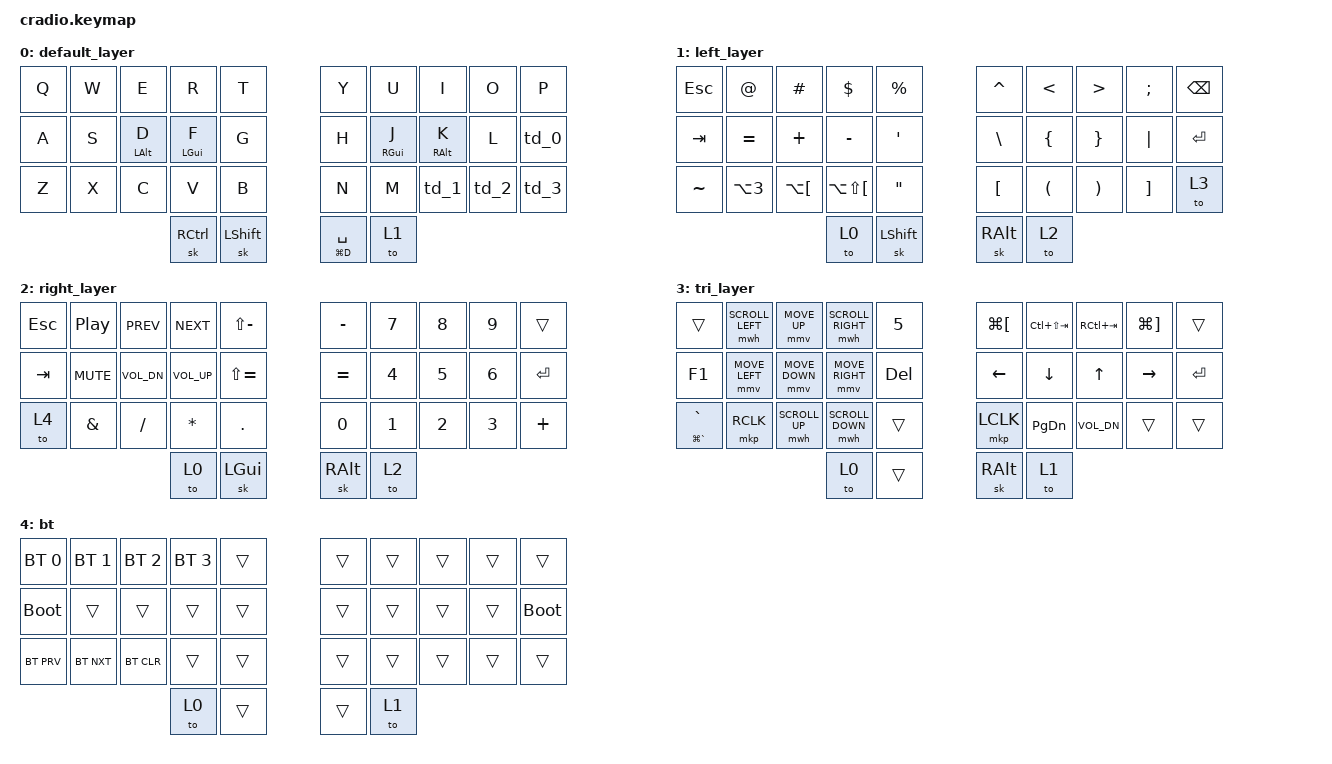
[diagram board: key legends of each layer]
/*
 * Copyright (c) 2020 The ZMK Contributors
 *
 * SPDX-License-Identifier: MIT
 */

#include <behaviors.dtsi>
#include <dt-bindings/zmk/keys.h>
#include <dt-bindings/zmk/bt.h>
#include <dt-bindings/zmk/mouse.h>


&mt {
    flavor = "tap-preferred";
    tapping_term_ms = <200>;
};


/ { 
    combos {
        compatible = "zmk,combos";
        combo_tri {
            timeout-ms = <50>;
	          key-positions = <0 1>;
            bindings = <&to 3>;
            layers = <0>;
        };
        combo_bt {
            timeout-ms = <50>;
	          key-positions = <8 9>;
            bindings = <&to 4>;
            layers = <0>;
        };
    };


    behaviors {
        hm: homerow_mods {
            compatible = "zmk,behavior-hold-tap";
            label = "HOMEROW_MODS";
            #binding-cells = <2>;
            tapping-term-ms = <200>;
            quick_tap_ms = <0>;
            flavor = "tap-preferred";
            bindings = <&kp>, <&kp>;
        };
        hs: homerow_shifts {
            compatible = "zmk,behavior-hold-tap";
            label = "HOMEROW_SHIFTS";
            #binding-cells = <2>;
            tapping-term-ms = <150>;
            quick_tap_ms = <0>;
            flavor = "balanced";
            bindings = <&kp>, <&kp>;
        };
        hsl: homerow_shifts_layer {
            compatible = "zmk,behavior-hold-tap";
            label = "HOMEROW_SHIFTS_LAYER";
            #binding-cells = <2>;
            tapping-term-ms = <150>;
            quick_tap_ms = <0>;
            flavor = "balanced";
            bindings = <&kp>, <&to>;
        };
      	td: tapdance {
            compatible = "zmk,behavior-hold-tap";
            label = "TAPDANCE";
            #binding-cells = <2>;
            tapping-term-ms = <150>;
            quick_tap_ms = <0>;
            flavor = "tap-preferred";
            bindings = <&kp>, <&kp>;
        };
	      td_0: td_semi {
            compatible = "zmk,behavior-tap-dance";
            #binding-cells = <0>;
            tapping-term-ms = <150>;
            bindings = <&kp SEMI>, <&kp COLON>, <&kp TILDE>;
        };
	      td_1: td_comma {
            compatible = "zmk,behavior-tap-dance";
            #binding-cells = <0>;
            tapping-term-ms = <150>;
            bindings = <&kp COMMA >, <&kp LT>, <&kp PIPE>;
        };
	      td_2: td_dot {
            compatible = "zmk,behavior-tap-dance";
            #binding-cells = <0>;
            tapping-term-ms = <150>;
            bindings = <&kp DOT>, <&kp GT>,<&kp DQT>;
        };
	      td_3: td_qmark {
            compatible = "zmk,behavior-tap-dance";
            #binding-cells = <0>;
            tapping-term-ms = <150>;
            bindings = <&kp QMARK>, <&kp SLASH>, <&kp BSLH>;
        };

      	bl: layertap {
            compatible = "zmk,behavior-hold-tap";
            label = "LAYERTAP";
            #binding-cells = <2>;
            tapping-term-ms = <150>;
            quick_tap_ms = <0>;
            flavor = "tap-preferred";
            bindings = <&to>, <&kp>;
        };
    };

    keymap {
                compatible = "zmk,keymap";
                
       default_layer {
		bindings = <
		&kp Q &kp W &kp E &kp R &kp T 						&kp Y &kp U  &kp I    &kp O  &kp P 
		&kp A &kp S &hm LALT D &hm LGUI F &kp G 			       	&kp H &hm RGUI J &hm RALT K &kp L &td_0
		&kp Z &kp X &kp C &kp V &kp B				        &kp N &kp M  &td_1 &td_2 &td_3
          				&sk RCTRL &sk LSHIFT  				&mt LG(D) SPACE &to 1
		>;
		};

       		left_layer {
		bindings = <
		&kp ESC  &kp AT_SIGN   &kp HASH &kp DLLR    &kp PRCNT		&kp CARET &kp LT &kp GT &kp SEMI &kp BSPC 
		&kp TAB    &kp EQUAL    &kp PLUS      &kp MINUS     &kp SQT 		&kp BSLH &kp LBRC  &kp RBRC &kp PIPE  &kp ENTER
		&kp TILDE    &kp LA(N3) 	&kp LA(LBKT) &kp LA(LS(LBKT))  &kp DQT 	&kp LBKT &kp LPAR &kp RPAR &kp RBKT  &to 3 
					    &to 0  &sk LSHIFT  					&sk RALT &to 2 
		>;
		};
		
		right_layer {
		bindings = <
		&kp ESC  &kp C_PP &kp C_PREV  &kp C_NEXT  &kp LS(MINUS)    			&kp MINUS  &kp N7 &kp N8 &kp N9 &trans
		&kp TAB  &kp K_MUTE &kp  C_VOL_DN  &kp C_VOL_UP  &kp LS(EQUAL) 			&kp EQUAL &kp N4  &kp N5  &kp N6   &kp ENTER
		&to 4  &kp AMPS &kp SLASH &kp STAR &kp DOT    			&kp N0 &kp N1 &kp N2 &kp N3  &kp PLUS 
					  &to 0 &sk LGUI  				&sk RALT  &to 2 
		>;
		};
		
		tri_layer {
		bindings = <
		&trans  &mwh SCROLL_LEFT    &mmv MOVE_UP    &mwh SCROLL_RIGHT    &kp N5 			&kp LG(LBKT)   &kp LC(LS(TAB))   &kp RC(TAB) &kp LG(RBKT) &trans
		&kp F1 &mmv MOVE_LEFT &mmv MOVE_DOWN &mmv MOVE_RIGHT &kp DEL  						&kp LEFT &kp DOWN  &kp UP &kp RIGHT &kp ENTER 
		&td LG(GRAVE) GRAVE &mkp RCLK  &mwh SCROLL_UP &mwh SCROLL_DOWN &trans   				&mkp LCLK &kp PG_DN  &kp K_VOL_DN  &trans &trans   
					 &to 0 &trans  					&sk RALT &to 1 
		>;
		};	
		bt {
		bindings = <
		&bt BT_SEL 0  &bt BT_SEL 1 &bt BT_SEL 2 &bt BT_SEL 3 &trans &trans &trans &trans &trans &trans
		&bootloader &trans &trans &trans &trans &trans &trans &trans &trans &bootloader
		&bt BT_PRV  &bt BT_NXT &bt BT_CLR &trans &trans   				&trans &trans  &trans  &trans &trans   
					 &to 0 &trans  					&trans &to 1 
		>;
		}; 
	};

};
